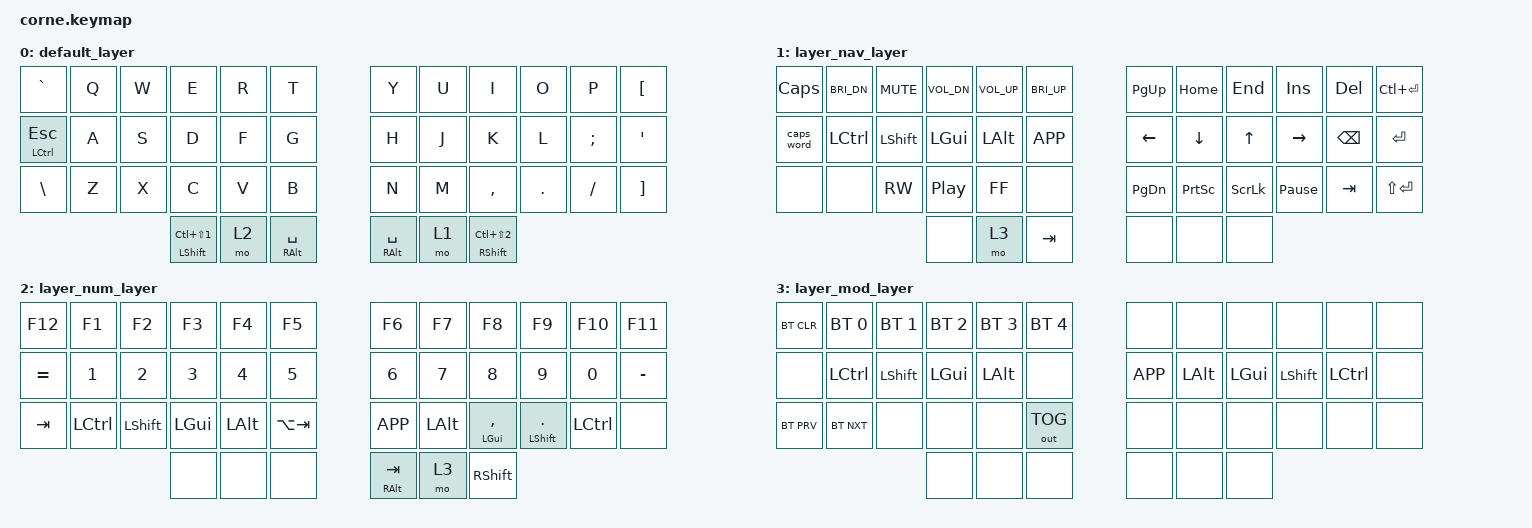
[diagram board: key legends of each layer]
/*
 * Copyright (c) 2020 The ZMK Contributors
 *
 * SPDX-License-Identifier: MIT
 */
/* THIS FILE WAS GENERATED!
 *
 * This file was generated automatically. You may or may not want to
 * edit it directly.
 */

#include <behaviors.dtsi>
#include <dt-bindings/zmk/keys.h>
#include <dt-bindings/zmk/bt.h>
#include <dt-bindings/zmk/outputs.h>

/ {
    combos {
        compatible = "zmk,combos";

        lock {
            bindings = <&kp LG(L)>;
            key-positions = <39 41>;
        };
    };

    keymap {
        compatible = "zmk,keymap";

        default_layer {
            bindings = <
     &kp GRAVE   &kp Q   &kp W                      &kp E   &kp R           &kp T                   &kp Y   &kp U                       &kp I    &kp O     &kp P  &kp LBKT
 &mt LCTRL ESC   &kp A   &kp S                      &kp D   &kp F           &kp G                   &kp H   &kp J                       &kp K    &kp L  &kp SEMI   &kp SQT
      &kp BSLH   &kp Z   &kp X                      &kp C   &kp V           &kp B                   &kp N   &kp M                   &kp COMMA  &kp DOT  &kp FSLH  &kp RBKT
                                &mt LEFT_SHIFT LC(LS(N1))   &mo 2  &mt RALT SPACE          &mt RALT SPACE   &mo 1  &mt RIGHT_SHIFT LC(LS(N2))
            >;
        };

        layer_nav_layer {
            bindings = <
 &kp CAPSLOCK  &kp C_BRI_DN      &kp C_MUTE  &kp C_VOL_DN  &kp C_VOL_UP  &kp C_BRI_UP          &kp PG_UP         &kp HOME         &kp END          &kp INS        &kp DEL  &kp LC(ENTER)
   &caps_word     &kp LCTRL  &kp LEFT_SHIFT      &kp LGUI      &kp LALT     &kp K_APP           &kp LEFT         &kp DOWN          &kp UP        &kp RIGHT  &kp BACKSPACE      &kp ENTER
        &none         &none        &kp C_RW      &kp C_PP      &kp C_FF         &none          &kp PG_DN  &kp PRINTSCREEN  &kp SCROLLLOCK  &kp PAUSE_BREAK        &kp TAB  &kp LS(ENTER)
                                                    &none         &mo 3       &kp TAB              &none            &none           &none
            >;
        };

        layer_num_layer {
            bindings = <
   &kp F12     &kp F1     &kp F2    &kp F3    &kp F4       &kp F5                     &kp F6        &kp F7              &kp F8              &kp F9    &kp F10    &kp F11
 &kp EQUAL     &kp N1     &kp N2    &kp N3    &kp N4       &kp N5                     &kp N6        &kp N7              &kp N8              &kp N9     &kp N0  &kp MINUS
   &kp TAB  &kp LCTRL  &kp LSHFT  &kp LGUI  &kp LALT  &kp LA(TAB)                  &kp K_APP  &kp LEFT_ALT  &mt LEFT_GUI COMMA  &mt LEFT_SHIFT DOT  &kp LCTRL      &none
                                     &none     &none        &none          &mt RIGHT_ALT TAB         &mo 3     &kp RIGHT_SHIFT
            >;
        };

        layer_mod_layer {
            bindings = <
 &bt BT_CLR  &bt BT_SEL 0  &bt BT_SEL 1  &bt BT_SEL 2  &bt BT_SEL 3  &bt BT_SEL 4              &none     &none         &none      &none      &none   &none
      &none     &kp LCTRL     &kp LSHFT      &kp LGUI      &kp LALT         &none          &kp K_APP  &kp LALT  &kp LEFT_GUI  &kp LSHFT  &kp LCTRL   &none
 &bt BT_PRV    &bt BT_NXT         &none         &none         &none  &out OUT_TOG              &none     &none         &none      &none      &none   &none
                                                &none         &none         &none              &none     &none         &none
            >;
        };
    };
};
